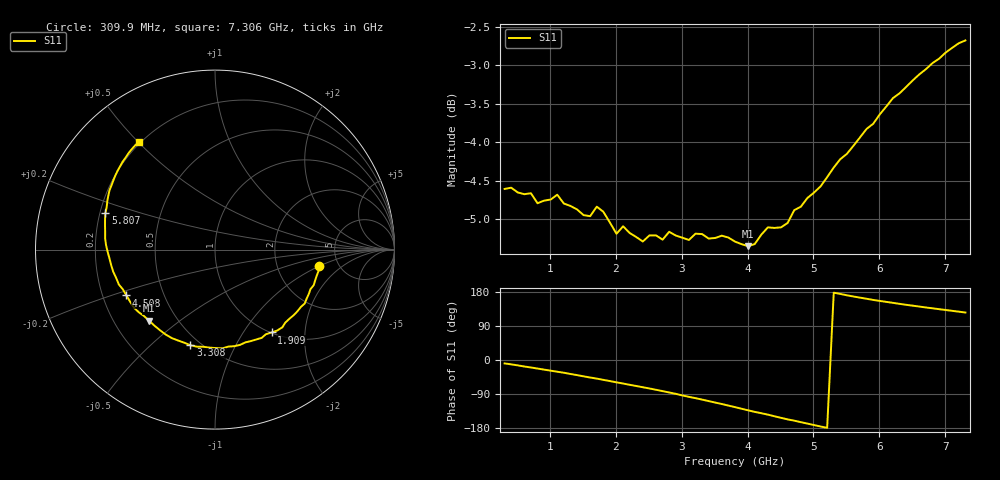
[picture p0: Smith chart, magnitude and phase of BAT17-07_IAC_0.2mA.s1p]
! Infineon Technologies  Discrete & RF Semiconductors
! BAT17-07
! IAC = 0.2 mA
! One-Port S-Parameters
# Hz  S  MA  R  50
!f  S11
!Hz  Mag  Ang
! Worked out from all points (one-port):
!   71 points, 309.9 MHz to 7.306 GHz, reference 50 ohm
!   lowest |S11| = -5.4 dB at 4.008 GHz (marker M1), VSWR 3.35, Z = 17.5 - j19.5 ohm
!   |S11| at or under -10 dB: nowhere
!   S11 on the Smith chart (normalised r, x): 309.9 MHz: 3.55, -1.00; 1.909 GHz: 1.01, -1.36; 3.308 GHz: 0.44, -0.68; 4.508 GHz: 0.30, -0.22; 5.807 GHz: 0.22, +0.15; 7.306 GHz: 0.19, +0.50
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3.0985e8  0.5883 -9.0
7.0965e8  0.5845 -19.8
8.096e8  0.5759 -22.5
1.10945e9  0.5833 -30.9
1.2094e9  0.5756 -33.6
1.6092e9  0.5649 -46.3
1.70915e9  0.5729 -49.0
1.90905e9  0.5595 -55.6
2.10895e9  0.5564 -62.1
2.4088e9  0.5439 -71.9
2.8086e9  0.5518 -85.7
3.0085e9  0.547 -93.5
3.30835e9  0.5499 -104.5
3.6082e9  0.5486 -116.2
3.8081e9  0.5438 -124.4
4.008e9  0.5401 -132.8
4.30785e9  0.5555 -144.2
4.50775e9  0.5555 -152.7
4.70765e9  0.5699 -160.1
4.90755e9  0.5804 -167.8
5.2074e9  0.5988 -179.0
5.4073e9  0.6151 174.3
5.6072e9  0.6276 167.5
5.8071e9  0.6436 161.6
6.2069e9  0.6739 150.8
6.50675e9  0.6919 143.4
7.0065e9  0.7213 132.0
7.30635e9  0.7345 125.3
